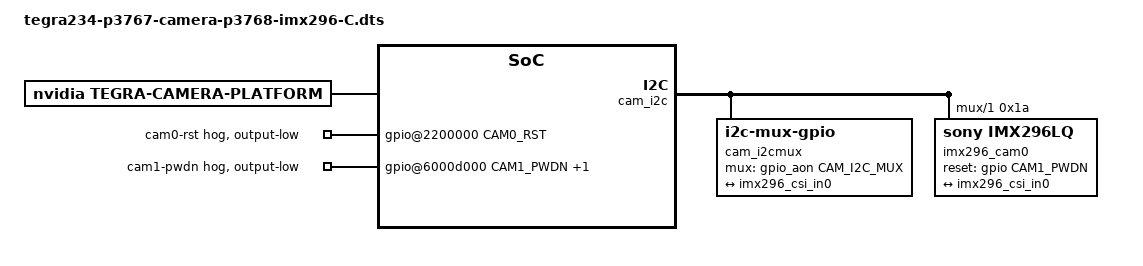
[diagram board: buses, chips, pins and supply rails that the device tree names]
// SPDX-License-Identifier: GPL-2.0-only
// SPDX-FileCopyrightText: Jonathan Peclat

/dts-v1/;
/plugin/;

// GPIO definitions for Jetson Orin Nano devkit
// Source: confirmed from IMX219-A overlay
#define CAM0_RST    TEGRA234_MAIN_GPIO(H, 3)   // gpio-391, CAM0 reset (unused by IMX296)
#define CAM1_RST    TEGRA234_MAIN_GPIO(AC, 1)  // gpio-???, CAM1 reset (unused by IMX296)
#define CAM0_PWDN   TEGRA234_MAIN_GPIO(H, 6)   // gpio-394, CAM0 XSHUTDOWN
#define CAM1_PWDN   TEGRA234_MAIN_GPIO(AC, 0)  // gpio-486, CAM1 XSHUTDOWN
#define CAM_I2C_MUX TEGRA234_AON_GPIO(CC, 3)   // gpio-331, I2C mux select

#include <dt-bindings/tegra234-p3767-0000-common.h>
#include <dt-bindings/clock/tegra234-clock.h>

/ {
    overlay-name = "Camera IMX296 on CAM1";
    jetson-header-name = "Jetson 22pin CSI Connector";
    compatible = JETSON_COMPATIBLE_P3768;

    // IMX296 sensor on CSI port C / CAM1 (J21)
    fragment@0 {
        target-path = "/";
        __overlay__ {
            // VI (Video Input) - DMA engine
            tegra-capture-vi {
                num-channels = <1>;
                ports {
                    #address-cells = <1>;
                    #size-cells = <0>;
                    vi_port0: port@0 {
                        reg = <0>;
                        imx296_vi_in0: endpoint {
                            port-index = <2>;   // serial_c = CSI port 2 = CAM1
                            bus-width = <1>;    // 1 MIPI lane
                            remote-endpoint = <&imx296_csi_out0>;
                        };
                    };
                };
            };

            // tegra-camera-platform - module registry
            tegra-camera-platform {
                compatible = "nvidia, tegra-camera-platform";
                modules {
                    module0 {
                        badge = "imx296_front_imx296";
                        position = "front";
                        orientation = "1";
                        drivernode0 {
                            pcl_id = "v4l2_sensor";
                            sysfs-device-tree = "/sys/firmware/devicetree/base/bus@0/cam_i2cmux/i2c@1/imx296_a@1a";
                        };
                    };
                };
            };

            bus@0 {
                // NVCSI - CSI deserializer
                host1x@13e00000 {
                    nvcsi@15a00000 {
                        num-channels = <1>;
                        #address-cells = <1>;
                        #size-cells = <0>;
                        // channel@1 for CAM1
                        csi_chan1: channel@1 {
                            reg = <0>;
                            ports {
                                #address-cells = <1>;
                                #size-cells = <0>;
                                // port@0 = input from sensor
                                csi_chan1_port0: port@0 {
                                    reg = <0>;
                                    imx296_csi_in0: endpoint@2 {
                                        port-index = <2>;   // serial_c = CAM1
                                        bus-width = <1>;    // 1 MIPI lane
                                        remote-endpoint = <&imx296_out0>;
                                    };
                                };
                                // port@1 = output to VI
                                csi_chan0_port1: port@1 {
                                    reg = <1>;
                                    imx296_csi_out0: endpoint@3 {
                                        remote-endpoint = <&imx296_vi_in0>;
                                    };
                                };
                            };
                        };
                    };
                };

                // cam_i2cmux - GPIO controlled I2C mux
                // i2c@0 = CAM0 (J20), i2c@1 = CAM1 (J21)
                cam_i2cmux {
                    status = "okay";
                    compatible = "i2c-mux-gpio";
                    #address-cells = <1>;
                    #size-cells = <0>;
                    mux-gpios = <&gpio_aon CAM_I2C_MUX GPIO_ACTIVE_HIGH>;
                    i2c-parent = <&cam_i2c>;

                    // CAM0 I2C bus
                    i2c@1 {
                        status = "okay";
                        reg = <1>;
                        #address-cells = <1>;
                        #size-cells = <0>;

                        // IMX296 sensor node
                        // I2C address 0x1a (confirmed from mainline DT binding)
                        imx296_cam0: imx296_a@1a {
                            compatible = "sony,imx296lq";  // color variant
                            reg = <0x1a>;
                            devnode = "video0";

                            physical_w = "4.968";          // 1456 pixels * 3.45um
                            physical_h = "3.723";          // 1088 pixels * 3.45um
                            sensor_model = "imx296";

                            use_sensor_mode_id = "false";

                            /*
                             * XSHUTDOWN - active HIGH to exit standby
                             * Note: mainline DT binding uses GPIO_ACTIVE_LOW
                             * but tegracam framework drives it differently.
                             * CAM1_PWDN = TEGRA234_MAIN_GPIO(AC, 0) = gpio-486
                             */
                            reset-gpios = <&gpio CAM1_PWDN GPIO_ACTIVE_HIGH>;

                            /*
                             * Mode 0: 1456x1088 full resolution
                             */
                            mode0 {
                                mclk_khz = "54000";
                                num_lanes = "1";            // 1 MIPI lane
                                tegra_sinterface = "serial_c";
                                phy_mode = "DPHY";

                                discontinuous_clk = "yes";
                                lane_polarity = "0";
                                dpcm_enable = "false";
                                cil_settletime = "0";

                                csi_pixel_bit_depth = "10";
                                mode_type = "bayer";
                                pixel_phase = "rggb"; // color sensor - confirmed empirically correct;
                                                       // bggr/grbg/gbrg all tested and produce wrong casts.
                                                       // Note: mainline's MEDIA_BUS_FMT_SBGGR10_1X10 does NOT
                                                       // apply here - mainline also rotates 180 (RPi overlay
                                                       // rotation=<180>), which flips the effective CFA order;
                                                       // this board applies no such rotation.

                                active_w = "1456"; // with blank 1760
                                active_h = "1088"; // with blank 1118
                                readout_orientation = "0";

                                line_length = "1760";
                                inherent_gain = "1";

                                /*
                                 * From mainline: pixel_rate = 1188MHz/10 = 118.8MHz
                                 */
                                pix_clk_hz = "118800000";

                                /*
                                 * Gain is dB-based on IMX296:
                                 * register = 20 * log10(gain) * 10
                                 * gain = 10^(register/200)
                                 * min=0 (0dB=1x), max=480 (48.0dB~251x),
                                 * matching mainline imx296.c IMX296_GAIN_MAX
                                 *
                                 * gain_factor=1 because register value IS
                                 * the scaled value (no additional conversion)
                                 * The set_gain function handles dB conversion
                                 */
                                gain_factor = "1";
                                min_gain_val = "0";    // 0 dB = 1x
                                max_gain_val = "480";  // 48.0 dB = ~251x
                                step_gain_val = "1";
                                default_gain = "0";    // 1x gain

                                min_hdr_ratio = "1";
                                max_hdr_ratio = "1";

                                /*
                                 * Frame rate calculation:
                                 * line_period = 1100 / 74.25MHz = 14.81us
                                 * min_vts for 60fps = 1/(60 * 14.81us) = 1126 lines
                                 * default VTS from mainline = 1088 + 30 = 1118 lines
                                 * max fps = 1/(1118 * 14.81us) = ~60fps
                                 */
                                framerate_factor = "1000000";
                                min_framerate = "1000000";    // 1 fps
                                max_framerate = "60000000";   // 60 fps
                                step_framerate = "1";
                                default_framerate = "60000000";

                                /*
                                 * Exposure calculation from libcamera:
                                 * exposure_us = lines * 14.81us + 14.26us
                                 * lines = (exposure_us - 14.26us) / 14.81us
                                 * exposure_factor = 1000000 (microseconds)
                                 * min = 1 line = ~14.81us -> round to 15us
                                 * max = VTS - 4 lines (frameIntegrationDiff=4)
                                 */
                                exposure_factor = "1000000";
                                min_exp_time = "15";       // ~1 line period
                                max_exp_time = "15699";    // (1118-4) * 14.81us
                                step_exp_time = "1";
                                default_exp_time = "10000"; // 10ms default

                                embedded_metadata_height = "2"; // IMX296 sends 2 embedded lines
                            };

                            ports {
                                #address-cells = <1>;
                                #size-cells = <0>;
                                port@0 {
                                    reg = <0>;
                                    imx296_out0: endpoint {
                                        status = "okay";
                                        port-index = <2>;   // serial_c = CAM1
                                        bus-width = <1>;    // 1 MIPI lane
                                        remote-endpoint = <&imx296_csi_in0>;
                                    };
                                };
                            };
                        };
                    };

                    // Disable CAM0 side
                    i2c@0 {
                        imx296_c@1a {
                            status = "disabled";
                        };
                    };
                };

                // GPIO hogs - drive all camera GPIOs to safe low state at boot
                gpio@2200000 {
                    camera-control-output-low {
                        gpio-hog;
                        output-low;
                        gpios = <CAM0_RST 0>;
                        label = "cam0-rst";
                    };
                };
                gpio@6000d000 {
                    camera-control-output-low {
                        gpio-hog;
                        output-low;
                        gpios = <CAM1_PWDN 0 CAM0_PWDN 0>;
                        label = "cam1-pwdn", "cam0-pwdn";
                    };
                };
            };
        };
    };
};
